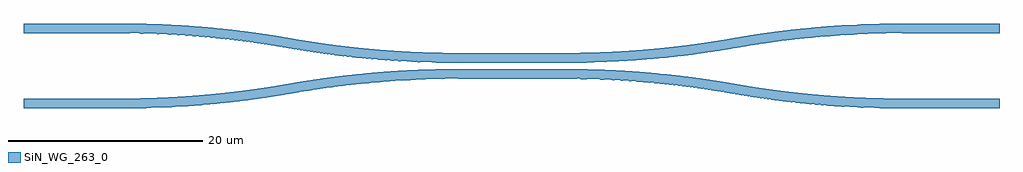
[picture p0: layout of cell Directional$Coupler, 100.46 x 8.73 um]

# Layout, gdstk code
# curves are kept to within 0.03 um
import gdstk
lib = gdstk.Library(unit=1e-6, precision=1e-09)
def R(c, l, rs):  # rectangles x0, y0, x1, y1
    for r in rs: c.add(gdstk.rectangle(r[:2], r[2:], *l))
def P(c, l, *ps):  # polygons
    for p in ps: c.add(gdstk.Polygon(p, *l))
SiN_WG_263_0 = (263, 0)

directional_coupler = lib.new_cell('Directional$Coupler')
R(directional_coupler, SiN_WG_263_0, [(13116.79,13157.312,13126.79,13158.312), (13207.249,13157.312,13217.249,13158.312), (13161.519,13160.35,13172.519,13161.35), (13161.519,13162,13172.519,13163), (13116.79,13165.039,13126.79,13166.039), (13207.249,13165.039,13217.249,13166.039)])
P(directional_coupler, SiN_WG_263_0, [(13189.971,13163.527),(13189.797,13164.512),(13192.881,13165.007),(13196.577,13165.471),(13200.007,13165.778),(13203.766,13165.979),(13207.249,13166.039),(13207.249,13165.039),(13202.988,13164.948),(13198.696,13164.671),(13194.262,13164.188)],
  [(13172.519,13162),(13172.519,13163),(13176.82,13163.093),(13181.033,13163.365),(13185.467,13163.846),(13189.797,13164.512),(13189.971,13163.527),(13185.578,13162.852),(13181.159,13162.372),(13176.843,13162.093)],
  [(13161.439,13162),(13157.196,13162.093),(13152.72,13162.386),(13148.461,13162.852),(13144.068,13163.527),(13144.241,13164.512),(13148.571,13163.846),(13153.006,13163.365),(13157.219,13163.093),(13161.519,13163),(13161.519,13162)],
  [(13144.068,13163.527),(13139.777,13164.188),(13135.343,13164.671),(13131.05,13164.948),(13126.79,13165.039),(13126.79,13166.039),(13130.273,13165.979),(13134.032,13165.778),(13137.582,13165.458),(13141.316,13164.984),(13144.241,13164.512)],
  [(13206.969,13157.312),(13202.605,13157.419),(13198.41,13157.701),(13193.952,13158.195),(13189.797,13158.839),(13189.971,13159.824),(13194.459,13159.137),(13198.775,13158.673),(13202.869,13158.408),(13207.249,13158.312),(13207.249,13157.312)],
  [(13189.797,13158.839),(13185.428,13159.51),(13181.033,13159.986),(13176.7,13160.263),(13172.519,13160.35),(13172.519,13161.35),(13176.043,13161.289),(13179.961,13161.075),(13183.51,13160.748),(13187.125,13160.284),(13189.971,13159.824)],
  [(13126.79,13157.312),(13126.79,13158.312),(13131.17,13158.408),(13135.343,13158.68),(13139.817,13159.168),(13144.068,13159.824),(13144.241,13158.839),(13140.086,13158.195),(13135.629,13157.701),(13131.233,13157.41)],
  [(13144.241,13158.839),(13144.068,13159.824),(13146.914,13160.284),(13150.528,13160.748),(13154.077,13161.075),(13157.996,13161.289),(13161.519,13161.35),(13161.519,13160.35),(13157.338,13160.263),(13153.006,13159.986),(13148.611,13159.51)])

lib.write_gds('Directional_Coupler.gds')
